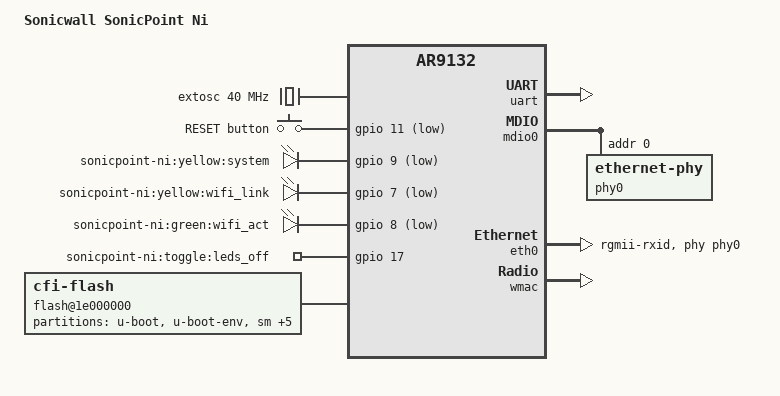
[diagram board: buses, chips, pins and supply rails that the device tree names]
// SPDX-License-Identifier: GPL-2.0+ or MIT
/dts-v1/;

#include <dt-bindings/gpio/gpio.h>
#include <dt-bindings/input/input.h>

#include "ar9132.dtsi"

/ {
	compatible = "sonicwall,sonicpoint-ni", "qca,ar9132";
	model = "Sonicwall SonicPoint Ni";

	chosen {
		bootargs = "console=ttyS0,115200n8";
	};

	aliases {
		led-boot = &led_system;
		led-failsafe = &led_system;
		led-running = &led_system;
		led-upgrade = &led_system;

		label-mac-device = &eth0;
	};

	extosc: ref {
		compatible = "fixed-clock";
		#clock-cells = <0>;
		clock-frequency = <40000000>;
	};

	keys {
		compatible = "gpio-keys";

		reset_btn {
			label = "RESET button";
			linux,code = <KEY_RESTART>;
			gpios = <&gpio 11 GPIO_ACTIVE_LOW>;
			debounce-interval = <60>;
		};
	};

	leds {
		compatible = "gpio-leds";

		led_system: system {
			label = "sonicpoint-ni:yellow:system";
			gpios = <&gpio 9 GPIO_ACTIVE_LOW>;
		};

		wifi_link {
			label = "sonicpoint-ni:yellow:wifi_link";
			gpios = <&gpio 7 GPIO_ACTIVE_LOW>;
		};

		wifi_act {
			label = "sonicpoint-ni:green:wifi_act";
			gpios = <&gpio 8 GPIO_ACTIVE_LOW>;
			linux,default-trigger = "phy0tpt";
		};
	};

	gpio-export {
		compatible = "gpio-export";

		gpio_led_power {
			gpio-export,name = "sonicpoint-ni:toggle:leds_off";
			gpio-export,output = <0>;
			gpios = <&gpio 17 GPIO_ACTIVE_HIGH>;
		};
	};

	flash@1e000000 {
		compatible = "cfi-flash";
		reg = <0x1e000000 0x1000000>;
		bank-width = <2>;

		partitions {
			compatible = "fixed-partitions";
			#address-cells = <1>;
			#size-cells = <1>;

			partition@0 {
				label = "u-boot";
				reg = <0 0x40000>;
				read-only;
			};

			partition@40000 {
				label ="u-boot-env";
				reg = <0x40000 0x20000>;
			};

			partition@60000 {
				/* Recovery OS */
				label = "sm";
				reg = <0x60000 0x400000>;
				read-only;
			};

			partition@460000 {
				compatible = "denx,uimage";
				label ="firmware";
				reg = <0x460000 0x800000>;
			};

			partition@c60000 {
				label ="config";
				reg = <0xc60000 0x2a0000>;
				read-only;
			};

			partition@f00000 {
				label ="info";
				reg = <0xf00000 0xc0000>;
				read-only;
			};

			sysinfo: partition@fc0000 {
				label ="sysinfo";
				reg = <0xfc0000 0x20000>;
				read-only;
			};

			art: partition@fe0000 {
				label = "art";
				reg = <0xfe0000 0x20000>;
				read-only;
			};
		};
	};
};

&uart {
	status = "okay";
};

&pll {
	clocks = <&extosc>;
};

&mdio0 {
	status = "okay";

	phy0: ethernet-phy@0 {
		reg = <0>;
		/*marvell,reg-init = <0x2 21 0xFFCF 0x20>;  Enable RX-delay */
	};
};

&eth0 {
	status = "okay";

	phy-mode = "rgmii-rxid";
	phy-handle = <&phy0>;
	mtd-mac-address = <&sysinfo 0x50>;
};

&wmac {
	status = "okay";

	mtd-cal-data = <&art 0x11000>;
	mtd-mac-address = <&sysinfo 0x50>;
	mtd-mac-address-increment = <1>;
};
